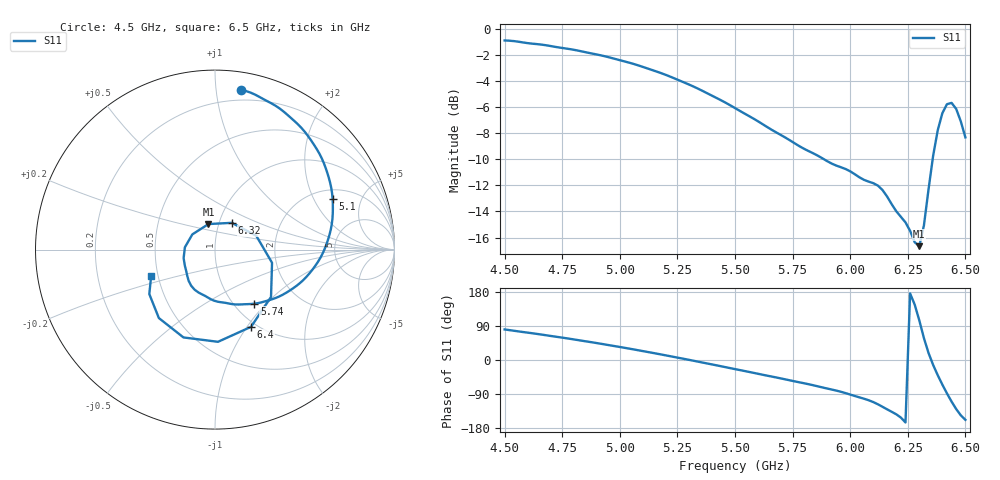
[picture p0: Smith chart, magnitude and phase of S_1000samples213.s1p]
! TOUCHSTONE file generated by CST MICROWAVE STUDIO
! Date and time: Thu Oct 27 09:47:55 2022
! Project name: L.cst
! Parameters = {Di=1.27; Epsilon_r=1.56; InnerDiameter=1.27; Length=2; Lf=10; Lg=60; OuterConductorThickness=0.2921; OuterDiameter=3.6; Wf=3; Wp=41.2; de=1.5; df=6.8; g=0.8; gx=1.17266; gy=2.96294; h=2.34; hf=1.524; px=10.2327; py=13.2557; w=9.7; wx=9.06005; wy=10.2928}
! Header version: 2018
! Port assignment regex: !\s*Touchstone port\s*([0-9]+)\s*=\s*(CST MWS port|CST DS port)\s*([0-9]+|Zmin|Zmax)\s*\(\"(.*)\"\)(\s*mode\s*([0-9]+))?.*
! Touchstone port assignment:
! Touchstone port 1 = CST MWS port 1 ("")
# GHz S DB R 50
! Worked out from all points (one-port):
!   101 points, 4.5 GHz to 6.5 GHz, reference 50 ohm
!   lowest |S11| = -16.7 dB at 6.3 GHz (marker M1), VSWR 1.34, Z = 44.7 + j13 ohm
!   |S11| at or under -10 dB: 5.886 GHz to 6.358 GHz (471.7 MHz wide, 7.7 % of centre)
!   S11 on the Smith chart (normalised r, x): 4.5 GHz: 0.12, +1.17; 5.1 GHz: 2.45, +2.85; 5.74 GHz: 1.23, -0.86; 6.32 GHz: 1.15, +0.35; 6.4 GHz: 0.94, -1.04; 6.5 GHz: 0.46, -0.16
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4.5  -0.90 80.6
4.64  -1.18 68.9
4.76  -1.50 58.1
4.9  -1.97 44.7
5  -2.41 34.3
5.1  -2.92 23.5
5.26  -3.97 5.2
5.38  -4.95 -9.3
5.5  -6.08 -24.0
5.62  -7.31 -38.9
5.74  -8.57 -53.9
5.76  -8.79 -56.5
6  -10.92 -91.2
6.14  -12.35 -123.4
6.22  -14.41 -152.0
6.26  -15.48 175.6
6.28  -16.36 146.1
6.3  -16.66 104.4
6.32  -15.07 57.8
6.34  -12.31 18.5
6.36  -9.73 -13.0
6.38  -7.77 -40.2
6.4  -6.47 -65.0
6.42  -5.78 -88.1
6.44  -5.68 -109.7
6.46  -6.14 -129.4
6.48  -7.09 -145.9
6.5  -8.32 -157.9
